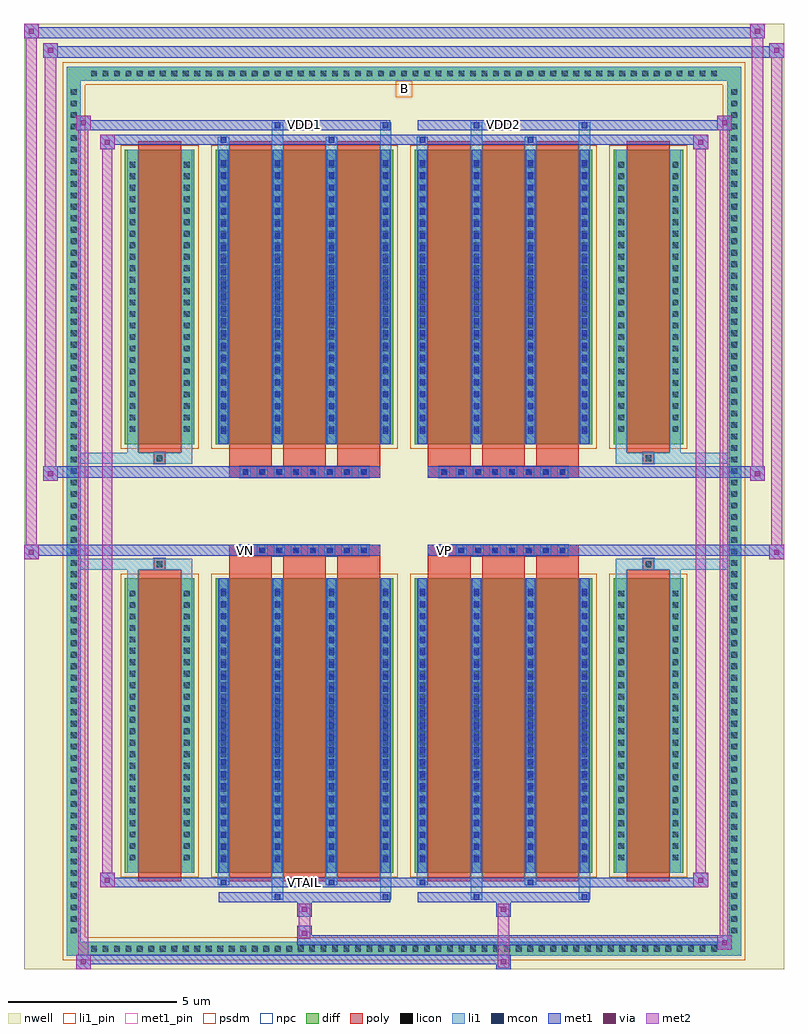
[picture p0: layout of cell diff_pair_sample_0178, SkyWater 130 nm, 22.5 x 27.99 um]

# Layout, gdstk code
import gdstk
lib = gdstk.Library(unit=1e-6, precision=5e-09)
def R(c, l, rs):  # rectangles x0, y0, x1, y1
    for r in rs: c.add(gdstk.rectangle(r[:2], r[2:], *l))
def A(c, l, x, y, w, h, nx, ny, dx, dy):  # array of equal rectangles
    R(c, l, [(x+i*dx, y+j*dy, x+i*dx+w, y+j*dy+h) for i in range(nx) for j in range(ny)])
def P(c, l, *ps):  # polygons
    for p in ps: c.add(gdstk.Polygon(p, *l))
nwell = (64, 20)
diff = (65, 20)
poly = (66, 20)
licon = (66, 44)
li1_pin = (67, 16)
li1 = (67, 20)
mcon = (67, 44)
met1_pin = (68, 16)
met1 = (68, 20)
via = (68, 44)
met2 = (69, 20)
psdm = (94, 20)
npc = (95, 20)

diff_pair_sample_0178 = lib.new_cell('diff_pair_sample_0178')
R(diff_pair_sample_0178, nwell, [(-11.25,-13.56,11.25,14.43), (-8.57,-11.75,-0.01,-0.795), (0.01,-11.75,8.57,-0.795), (-8.57,0.795,-0.01,11.75), (0.01,0.795,8.57,11.75)])
A(diff_pair_sample_0178, diff, -9.385, -13.16, 0.41, 0.41, 55, 2, 0.34, 25.91)
A(diff_pair_sample_0178, diff, -9.98, -12.615, 0.41, 0.41, 1, 74, 0, 0.34)
A(diff_pair_sample_0178, diff, 9.57, -12.615, 0.41, 0.41, 1, 74, 0, 0.34)
R(diff_pair_sample_0178, diff, [(-9.385,-13.16,9.385,-12.75), (-9.98,-12.615,-9.57,12.615), (9.57,-12.615,9.98,12.615), (-8.26,-10.705,-6.21,-1.985), (-5.57,-10.705,-0.32,-1.985), (0.32,-10.705,5.57,-1.985), (6.21,-10.705,8.26,-1.985), (-8.26,1.985,-6.21,10.705), (-5.57,1.985,-0.32,10.705), (0.32,1.985,5.57,10.705), (6.21,1.985,8.26,10.705), (-9.385,12.75,9.385,13.16)])
P(diff_pair_sample_0178, diff, [(9.98,13.16),(-9.98,13.16),(-9.98,-12.75),(-9.57,-12.75),(-9.57,12.75),(9.57,12.75),(9.57,-12.75),(-9.57,-12.75),(-9.98,-12.75),(-9.98,-13.16),(9.98,-13.16)])
A(diff_pair_sample_0178, poly, -5.18, -10.955, 1.27, 9.22, 3, 2, 1.6, 12.69)
A(diff_pair_sample_0178, poly, 0.71, -10.955, 1.27, 9.22, 3, 2, 1.6, 12.69)
A(diff_pair_sample_0178, poly, -5.18, -1.735, 1.27, 0.41, 3, 2, 1.6, 3.06)
A(diff_pair_sample_0178, poly, 0.71, -1.735, 1.27, 0.41, 3, 2, 1.6, 3.06)
A(diff_pair_sample_0178, poly, -4.86, -1.325, 0.33, 0.33, 8, 2, 0.5, 2.32)
A(diff_pair_sample_0178, poly, 1.03, -1.325, 0.33, 0.33, 8, 2, 0.5, 2.32)
R(diff_pair_sample_0178, poly, [(-7.87,-10.955,-6.6,-1.735), (6.6,-10.955,7.87,-1.735), (-7.4,-1.735,-7.07,-1.405), (-7.4,-1.735,-7.07,-1.405), (7.07,-1.735,7.4,-1.405), (7.07,-1.735,7.4,-1.405), (-5.18,-1.325,-0.71,-0.995), (0.71,-1.325,5.18,-0.995), (-5.18,0.995,-0.71,1.325), (0.71,0.995,5.18,1.325), (-7.4,1.405,-7.07,1.735), (-7.4,1.405,-7.07,1.735), (7.07,1.405,7.4,1.735), (7.07,1.405,7.4,1.735), (-7.87,1.735,-6.6,10.955), (6.6,1.735,7.87,10.955)])
A(diff_pair_sample_0178, licon, -9.265, -13.04, 0.17, 0.17, 55, 2, 0.34, 25.91)
A(diff_pair_sample_0178, licon, -9.86, -12.495, 0.17, 0.17, 1, 74, 0, 0.34)
A(diff_pair_sample_0178, licon, 9.69, -12.495, 0.17, 0.17, 1, 74, 0, 0.34)
A(diff_pair_sample_0178, licon, -8.12, -10.34, 0.17, 0.17, 1, 24, 0, 0.34)
A(diff_pair_sample_0178, licon, -6.52, -10.34, 0.17, 0.17, 1, 24, 0, 0.34)
A(diff_pair_sample_0178, licon, -5.43, -10.34, 0.17, 0.17, 4, 24, 1.6, 0.34)
A(diff_pair_sample_0178, licon, 0.46, -10.34, 0.17, 0.17, 4, 24, 1.6, 0.34)
A(diff_pair_sample_0178, licon, 6.35, -10.34, 0.17, 0.17, 1, 24, 0, 0.34)
A(diff_pair_sample_0178, licon, 7.95, -10.34, 0.17, 0.17, 1, 24, 0, 0.34)
A(diff_pair_sample_0178, licon, -4.78, -1.245, 0.17, 0.17, 8, 2, 0.5, 2.32)
A(diff_pair_sample_0178, licon, 1.11, -1.245, 0.17, 0.17, 8, 2, 0.5, 2.32)
A(diff_pair_sample_0178, licon, -8.12, 2.35, 0.17, 0.17, 1, 24, 0, 0.34)
A(diff_pair_sample_0178, licon, -6.52, 2.35, 0.17, 0.17, 1, 24, 0, 0.34)
A(diff_pair_sample_0178, licon, -5.43, 2.35, 0.17, 0.17, 4, 24, 1.6, 0.34)
A(diff_pair_sample_0178, licon, 0.46, 2.35, 0.17, 0.17, 4, 24, 1.6, 0.34)
A(diff_pair_sample_0178, licon, 6.35, 2.35, 0.17, 0.17, 1, 24, 0, 0.34)
A(diff_pair_sample_0178, licon, 7.95, 2.35, 0.17, 0.17, 1, 24, 0, 0.34)
R(diff_pair_sample_0178, licon, [(-7.32,-1.655,-7.15,-1.485), (7.15,-1.655,7.32,-1.485), (-7.32,1.485,-7.15,1.655), (7.15,1.485,7.32,1.655)])
R(diff_pair_sample_0178, li1_pin, [(-0.25,12.25,0.25,12.75)])
A(diff_pair_sample_0178, li1, -9.345, -13.12, 0.33, 0.33, 55, 2, 0.34, 25.91)
A(diff_pair_sample_0178, li1, -9.94, -12.575, 0.33, 0.33, 1, 74, 0, 0.34)
A(diff_pair_sample_0178, li1, 9.61, -12.575, 0.33, 0.33, 1, 74, 0, 0.34)
A(diff_pair_sample_0178, li1, -5.51, -10.705, 0.33, 8.72, 4, 2, 1.6, 12.69)
A(diff_pair_sample_0178, li1, 0.38, -10.705, 0.33, 8.72, 4, 2, 1.6, 12.69)
A(diff_pair_sample_0178, li1, -8.2, -10.42, 0.33, 0.33, 1, 24, 0, 0.34)
A(diff_pair_sample_0178, li1, -6.6, -10.42, 0.33, 0.33, 1, 24, 0, 0.34)
A(diff_pair_sample_0178, li1, -5.51, -10.42, 0.33, 0.33, 4, 24, 1.6, 0.34)
A(diff_pair_sample_0178, li1, 0.38, -10.42, 0.33, 0.33, 4, 24, 1.6, 0.34)
A(diff_pair_sample_0178, li1, 6.27, -10.42, 0.33, 0.33, 1, 24, 0, 0.34)
A(diff_pair_sample_0178, li1, 7.87, -10.42, 0.33, 0.33, 1, 24, 0, 0.34)
A(diff_pair_sample_0178, li1, -5.43, -10.39, 0.17, 0.17, 4, 23, 1.6, 0.36)
A(diff_pair_sample_0178, li1, -5.43, -10.39, 0.17, 8.09, 4, 2, 1.6, 12.69)
A(diff_pair_sample_0178, li1, 0.46, -10.39, 0.17, 0.17, 4, 23, 1.6, 0.36)
A(diff_pair_sample_0178, li1, 0.46, -10.39, 0.17, 8.09, 4, 2, 1.6, 12.69)
A(diff_pair_sample_0178, li1, -4.86, -1.325, 0.33, 0.33, 8, 2, 0.5, 2.32)
A(diff_pair_sample_0178, li1, 1.03, -1.325, 0.33, 0.33, 8, 2, 0.5, 2.32)
A(diff_pair_sample_0178, li1, -8.2, 2.27, 0.33, 0.33, 1, 24, 0, 0.34)
A(diff_pair_sample_0178, li1, -6.6, 2.27, 0.33, 0.33, 1, 24, 0, 0.34)
A(diff_pair_sample_0178, li1, -5.51, 2.27, 0.33, 0.33, 4, 24, 1.6, 0.34)
A(diff_pair_sample_0178, li1, 0.38, 2.27, 0.33, 0.33, 4, 24, 1.6, 0.34)
A(diff_pair_sample_0178, li1, 6.27, 2.27, 0.33, 0.33, 1, 24, 0, 0.34)
A(diff_pair_sample_0178, li1, 7.87, 2.27, 0.33, 0.33, 1, 24, 0, 0.34)
A(diff_pair_sample_0178, li1, -5.43, 2.3, 0.17, 0.17, 4, 23, 1.6, 0.36)
A(diff_pair_sample_0178, li1, 0.46, 2.3, 0.17, 0.17, 4, 23, 1.6, 0.36)
R(diff_pair_sample_0178, li1, [(-9.98,-13.16,-9.57,-12.75), (-9.98,-13.16,-9.57,-12.75), (-9.57,-13.16,9.57,-12.75), (9.57,-13.16,9.98,-12.75), (9.57,-13.16,9.98,-12.75), (-9.98,-12.75,-9.57,12.75), (9.57,-12.75,9.98,12.75), (-3.91,-11.51,-3.58,-10.705), (-3.83,-11.51,-3.66,-11.34), (-0.71,-11.51,-0.38,-10.705), (-0.63,-11.51,-0.46,-11.34), (1.98,-11.51,2.31,-10.705), (2.06,-11.51,2.23,-11.34), (5.18,-11.51,5.51,-10.705), (5.26,-11.51,5.43,-11.34), (-5.51,-11.08,-5.18,-10.705), (-5.43,-11.08,-5.26,-10.91), (-2.31,-11.08,-1.98,-10.705), (-2.23,-11.08,-2.06,-10.91), (0.38,-11.08,0.71,-10.705), (0.46,-11.08,0.63,-10.91), (3.58,-11.08,3.91,-10.705), (3.66,-11.08,3.83,-10.91), (-8.2,-10.705,-7.87,-1.985), (-6.6,-10.705,-6.27,-1.985), (6.27,-10.705,6.6,-1.985), (7.87,-10.705,8.2,-1.985), (-8.2,-1.985,-7.87,-1.405), (-6.6,-1.985,-6.27,-1.405), (6.27,-1.985,6.6,-1.405), (7.87,-1.985,8.2,-1.405), (-9.98,-1.735,-7.4,-1.405), (-8.2,-1.735,-7.4,-1.405), (-7.4,-1.735,-7.07,-1.405), (-7.07,-1.735,-6.27,-1.405), (6.27,-1.735,7.07,-1.405), (7.07,-1.735,7.4,-1.405), (7.07,-1.735,9.98,-1.405), (7.4,-1.735,8.2,-1.405), (-9.98,1.405,-7.4,1.735), (-8.2,1.405,-7.4,1.735), (-8.2,1.405,-7.87,1.985), (-7.4,1.405,-7.07,1.735), (-7.07,1.405,-6.27,1.735), (-6.6,1.405,-6.27,1.985), (6.27,1.405,7.07,1.735), (6.27,1.405,6.6,1.985), (7.07,1.405,7.4,1.735), (7.07,1.405,9.98,1.735), (7.4,1.405,8.2,1.735), (7.87,1.405,8.2,1.985), (-8.2,1.985,-7.87,10.705), (-6.6,1.985,-6.27,10.705), (6.27,1.985,6.6,10.705), (7.87,1.985,8.2,10.705), (-5.51,10.705,-5.18,11.08), (-3.91,10.705,-3.58,11.51), (-2.31,10.705,-1.98,11.08), (-0.71,10.705,-0.38,11.51), (0.38,10.705,0.71,11.08), (1.98,10.705,2.31,11.51), (3.58,10.705,3.91,11.08), (5.18,10.705,5.51,11.51), (-5.43,10.91,-5.26,11.08), (-2.23,10.91,-2.06,11.08), (0.46,10.91,0.63,11.08), (3.66,10.91,3.83,11.08), (-3.83,11.34,-3.66,11.51), (-0.63,11.34,-0.46,11.51), (2.06,11.34,2.23,11.51), (5.26,11.34,5.43,11.51), (-9.98,12.75,-9.57,13.16), (-9.98,12.75,-9.57,13.16), (-9.57,12.75,9.57,13.16), (9.57,12.75,9.98,13.16), (9.57,12.75,9.98,13.16)])
A(diff_pair_sample_0178, mcon, -5.43, -10.39, 0.17, 0.17, 4, 23, 1.6, 0.36)
A(diff_pair_sample_0178, mcon, 0.46, -10.39, 0.17, 0.17, 4, 23, 1.6, 0.36)
A(diff_pair_sample_0178, mcon, -4.78, -1.245, 0.17, 0.17, 8, 2, 0.5, 2.32)
A(diff_pair_sample_0178, mcon, 1.11, -1.245, 0.17, 0.17, 8, 2, 0.5, 2.32)
A(diff_pair_sample_0178, mcon, -5.43, 2.3, 0.17, 0.17, 4, 23, 1.6, 0.36)
A(diff_pair_sample_0178, mcon, 0.46, 2.3, 0.17, 0.17, 4, 23, 1.6, 0.36)
R(diff_pair_sample_0178, mcon, [(-3.83,-11.51,-3.66,-11.34), (-0.63,-11.51,-0.46,-11.34), (2.06,-11.51,2.23,-11.34), (5.26,-11.51,5.43,-11.34), (-5.43,-11.08,-5.26,-10.91), (-2.23,-11.08,-2.06,-10.91), (0.46,-11.08,0.63,-10.91), (3.66,-11.08,3.83,-10.91), (-5.43,10.91,-5.26,11.08), (-2.23,10.91,-2.06,11.08), (0.46,10.91,0.63,11.08), (3.66,10.91,3.83,11.08), (-3.83,11.34,-3.66,11.51), (-0.63,11.34,-0.46,11.51), (2.06,11.34,2.23,11.51), (5.26,11.34,5.43,11.51)])
R(diff_pair_sample_0178, met1_pin, [(-3.08,-11.12,-2.81,-10.85), (-4.83,-1.285,-4.56,-1.015), (1.06,-1.285,1.33,-1.015), (-3.08,11.3,-2.81,11.57), (2.81,11.3,3.08,11.57)])
A(diff_pair_sample_0178, met1, -5.49, -10.705, 0.29, 8.72, 4, 2, 1.6, 12.69)
A(diff_pair_sample_0178, met1, 0.4, -10.705, 0.29, 8.72, 4, 2, 1.6, 12.69)
A(diff_pair_sample_0178, met1, -5.49, -10.45, 0.29, 0.29, 4, 23, 1.6, 0.36)
A(diff_pair_sample_0178, met1, 0.4, -10.45, 0.29, 0.29, 4, 23, 1.6, 0.36)
A(diff_pair_sample_0178, met1, -4.84, -1.305, 0.29, 0.29, 8, 2, 0.5, 2.32)
A(diff_pair_sample_0178, met1, 1.05, -1.305, 0.29, 0.29, 8, 2, 0.5, 2.32)
A(diff_pair_sample_0178, met1, -5.49, 2.24, 0.29, 0.29, 4, 23, 1.6, 0.36)
A(diff_pair_sample_0178, met1, 0.4, 2.24, 0.29, 0.29, 4, 23, 1.6, 0.36)
R(diff_pair_sample_0178, met1, [(-9.71,-13.56,-9.28,-13.13), (2.73,-13.56,3.16,-13.13), (-9.71,-13.42,3.16,-13.13), (9.28,-12.99,9.71,-12.56), (-3.16,-12.85,9.71,-12.56), (-3.16,-12.71,-2.73,-12.28), (-3.16,-12,-2.73,-11.57), (2.73,-12,3.16,-11.57), (-5.49,-11.57,-0.4,-11.28), (-3.89,-11.57,-3.6,-11.28), (-0.69,-11.57,-0.4,-11.28), (0.4,-11.57,5.49,-11.28), (2,-11.57,2.29,-11.28), (5.2,-11.57,5.49,-11.28), (-9,-11.14,-8.57,-10.71), (-9,-11.14,-5.49,-10.85), (-5.49,-11.14,-5.2,-10.85), (-5.49,-11.14,-0.4,-10.85), (-2.29,-11.14,-2,-10.85), (-0.4,-11.14,0.4,-10.85), (0.4,-11.14,0.69,-10.85), (0.4,-11.14,5.49,-10.85), (3.6,-11.14,3.89,-10.85), (5.49,-11.14,9,-10.85), (8.57,-11.14,9,-10.71), (-11.25,-1.425,-10.82,-0.995), (10.82,-1.425,11.25,-0.995), (-11.25,-1.325,-0.71,-0.995), (-5.18,-1.325,-0.71,-0.995), (0.71,-1.325,5.18,-0.995), (0.71,-1.325,11.25,-0.995), (-10.68,0.895,-10.25,1.325), (10.25,0.895,10.68,1.325), (-10.68,0.995,-5.18,1.325), (-5.18,0.995,-0.71,1.325), (0.71,0.995,5.18,1.325), (5.18,0.995,10.68,1.325), (-9,10.71,-8.57,11.14), (8.57,10.71,9,11.14), (-9,10.85,-5.49,11.14), (-5.49,10.85,-5.2,11.14), (-5.49,10.85,-0.4,11.14), (-2.29,10.85,-2,11.14), (-0.4,10.85,0.4,11.14), (0.4,10.85,0.69,11.14), (0.4,10.85,5.49,11.14), (3.6,10.85,3.89,11.14), (5.49,10.85,9,11.14), (-9.71,11.28,-9.28,11.71), (-9.71,11.28,-5.49,11.57), (-5.49,11.28,-0.4,11.57), (-3.89,11.28,-3.6,11.57), (-0.69,11.28,-0.4,11.57), (0.4,11.28,5.49,11.57), (2,11.28,2.29,11.57), (5.2,11.28,5.49,11.57), (5.49,11.28,9.71,11.57), (9.28,11.28,9.71,11.71), (-10.68,13.43,-10.25,13.86), (-10.68,13.43,-8.57,13.76), (-8.57,13.43,8.57,13.76), (8.57,13.43,11.25,13.76), (10.82,13.43,11.25,13.86), (-11.25,14,-10.82,14.43), (-11.25,14,-8.57,14.33), (-8.57,14,8.57,14.33), (8.57,14,10.68,14.33), (10.25,14,10.68,14.43)])
R(diff_pair_sample_0178, via, [(-9.57,-13.42,-9.42,-13.27), (2.87,-13.42,3.02,-13.27), (9.42,-12.85,9.57,-12.7), (-3.02,-12.57,-2.87,-12.42), (-3.02,-11.86,-2.87,-11.71), (2.87,-11.86,3.02,-11.71), (-8.86,-11,-8.71,-10.85), (8.71,-11,8.86,-10.85), (-11.11,-1.285,-10.96,-1.135), (10.96,-1.285,11.11,-1.135), (-10.54,1.035,-10.39,1.185), (10.39,1.035,10.54,1.185), (-8.86,10.85,-8.71,11), (8.71,10.85,8.86,11), (-9.57,11.42,-9.42,11.57), (9.42,11.42,9.57,11.57), (-10.54,13.57,-10.39,13.72), (10.96,13.57,11.11,13.72), (-11.11,14.14,-10.96,14.29), (10.39,14.14,10.54,14.29)])
R(diff_pair_sample_0178, met2, [(-9.71,-13.56,-9.28,-13.13), (-9.64,-13.56,-9.35,11.71), (-9.35,-13.56,-9.28,-13.13), (-9.66,-13.51,-9.33,-13.18), (2.78,-13.51,3.11,-13.18), (2.78,-13.18,3.11,-11.95), (9.28,-12.99,9.71,-12.56), (9.35,-12.99,9.64,11.71), (9.64,-12.99,9.71,-12.56), (9.33,-12.94,9.66,-12.61), (-3.11,-12.66,-2.78,-12.33), (-3.11,-12.33,-2.78,-11.95), (-3.11,-11.95,-2.78,-11.62), (2.78,-11.95,3.11,-11.62), (-9,-11.14,-8.57,-10.71), (-8.93,-11.14,-8.64,11.14), (-8.64,-11.14,-8.57,-10.71), (8.57,-11.14,9,-10.71), (8.64,-11.14,8.93,11.14), (8.93,-11.14,9,-10.71), (-8.95,-11.09,-8.62,-10.76), (8.62,-11.09,8.95,-10.76), (-11.25,-1.425,-10.82,-0.995), (-11.2,-1.425,-10.87,14.43), (-10.87,-1.425,-10.82,-0.995), (10.82,-1.425,11.25,-0.995), (10.87,-1.425,11.2,13.86), (11.2,-1.425,11.25,-0.995), (-11.2,-1.375,-10.87,-1.045), (10.87,-1.375,11.2,-1.045), (-10.68,0.895,-10.25,1.325), (-10.63,0.895,-10.3,13.86), (-10.3,0.895,-10.25,1.325), (10.25,0.895,10.68,1.325), (10.3,0.895,10.63,14.43), (10.63,0.895,10.68,1.325), (-10.63,0.945,-10.3,1.275), (10.3,0.945,10.63,1.275), (-9,10.71,-8.57,11.14), (-8.64,10.71,-8.57,11.14), (8.57,10.71,9,11.14), (8.93,10.71,9,11.14), (-8.95,10.76,-8.62,11.09), (8.62,10.76,8.95,11.09), (-9.71,11.28,-9.28,11.71), (-9.35,11.28,-9.28,11.71), (9.28,11.28,9.71,11.71), (9.64,11.28,9.71,11.71), (-9.66,11.33,-9.33,11.66), (9.33,11.33,9.66,11.66), (-10.68,13.43,-10.25,13.86), (-10.3,13.43,-10.25,13.86), (10.82,13.43,11.25,13.86), (11.2,13.43,11.25,13.86), (-10.63,13.48,-10.3,13.81), (10.87,13.48,11.2,13.81), (-11.25,14,-10.82,14.43), (-10.87,14,-10.82,14.43), (10.25,14,10.68,14.43), (10.63,14,10.68,14.43), (-11.2,14.05,-10.87,14.38), (10.3,14.05,10.63,14.38)])
R(diff_pair_sample_0178, psdm, [(-8.39,-10.835,-6.08,-1.855), (-5.7,-10.835,-0.19,-1.855), (0.19,-10.835,5.7,-1.855), (6.08,-10.835,8.39,-1.855), (-8.39,1.855,-6.08,10.835), (-5.7,1.855,-0.19,10.835), (0.19,1.855,5.7,10.835), (6.08,1.855,8.39,10.835)])
P(diff_pair_sample_0178, psdm, [(10.11,13.29),(-10.11,13.29),(-10.11,-12.62),(-9.44,-12.62),(-9.44,12.62),(9.44,12.62),(9.44,-12.62),(-9.44,-12.62),(-10.11,-12.62),(-10.11,-13.29),(10.11,-13.29)])
A(diff_pair_sample_0178, npc, -4.88, -1.345, 0.37, 0.37, 8, 2, 0.5, 2.32)
A(diff_pair_sample_0178, npc, 1.01, -1.345, 0.37, 0.37, 8, 2, 0.5, 2.32)
R(diff_pair_sample_0178, npc, [(-7.42,-1.755,-7.05,-1.385), (7.05,-1.755,7.42,-1.385), (-4.88,-1.345,-4.01,-0.975), (-4.88,-1.345,-4.01,-0.975), (-4.38,-1.345,-3.51,-0.975), (-4.38,-1.345,-3.51,-0.975), (-3.88,-1.345,-3.01,-0.975), (-3.88,-1.345,-3.01,-0.975), (-3.38,-1.345,-2.51,-0.975), (-3.38,-1.345,-2.51,-0.975), (-2.88,-1.345,-2.01,-0.975), (-2.88,-1.345,-2.01,-0.975), (-2.38,-1.345,-1.51,-0.975), (-2.38,-1.345,-1.51,-0.975), (-1.88,-1.345,-1.01,-0.975), (-1.88,-1.345,-1.01,-0.975), (1.01,-1.345,1.88,-0.975), (1.01,-1.345,1.88,-0.975), (1.51,-1.345,2.38,-0.975), (1.51,-1.345,2.38,-0.975), (2.01,-1.345,2.88,-0.975), (2.01,-1.345,2.88,-0.975), (2.51,-1.345,3.38,-0.975), (2.51,-1.345,3.38,-0.975), (3.01,-1.345,3.88,-0.975), (3.01,-1.345,3.88,-0.975), (3.51,-1.345,4.38,-0.975), (3.51,-1.345,4.38,-0.975), (4.01,-1.345,4.88,-0.975), (4.01,-1.345,4.88,-0.975), (-4.88,0.975,-4.01,1.345), (-4.88,0.975,-4.01,1.345), (-4.38,0.975,-3.51,1.345), (-4.38,0.975,-3.51,1.345), (-3.88,0.975,-3.01,1.345), (-3.88,0.975,-3.01,1.345), (-3.38,0.975,-2.51,1.345), (-3.38,0.975,-2.51,1.345), (-2.88,0.975,-2.01,1.345), (-2.88,0.975,-2.01,1.345), (-2.38,0.975,-1.51,1.345), (-2.38,0.975,-1.51,1.345), (-1.88,0.975,-1.01,1.345), (-1.88,0.975,-1.01,1.345), (1.01,0.975,1.88,1.345), (1.01,0.975,1.88,1.345), (1.51,0.975,2.38,1.345), (1.51,0.975,2.38,1.345), (2.01,0.975,2.88,1.345), (2.01,0.975,2.88,1.345), (2.51,0.975,3.38,1.345), (2.51,0.975,3.38,1.345), (3.01,0.975,3.88,1.345), (3.01,0.975,3.88,1.345), (3.51,0.975,4.38,1.345), (3.51,0.975,4.38,1.345), (4.01,0.975,4.88,1.345), (4.01,0.975,4.88,1.345), (-7.42,1.385,-7.05,1.755), (7.05,1.385,7.42,1.755)])
diff_pair_sample_0178.add(gdstk.Label('VTAIL', (-2.945,-10.985), layer=68, texttype=5))
diff_pair_sample_0178.add(gdstk.Label('VN', (-4.695,-1.15), layer=68, texttype=5))
diff_pair_sample_0178.add(gdstk.Label('VP', (1.195,-1.15), layer=68, texttype=5))
diff_pair_sample_0178.add(gdstk.Label('B', (0,12.5), layer=67, texttype=5))
diff_pair_sample_0178.add(gdstk.Label('VDD2', (2.945,11.435), layer=68, texttype=5))
diff_pair_sample_0178.add(gdstk.Label('VDD1', (-2.945,11.435), layer=68, texttype=5))

lib.write_gds('diff_pair_sample_0178.gds')
